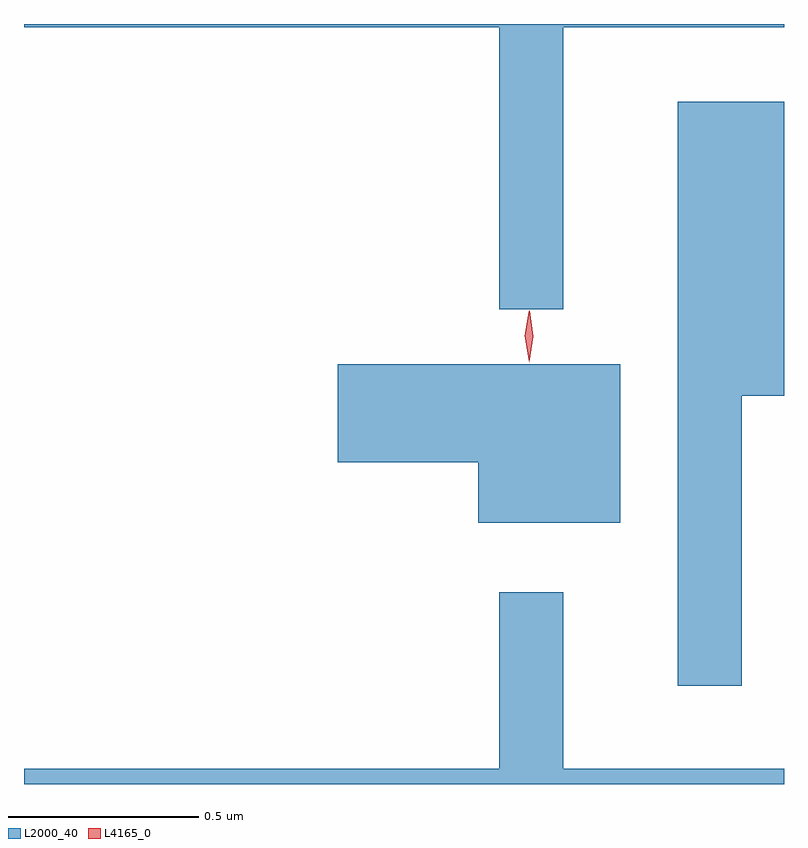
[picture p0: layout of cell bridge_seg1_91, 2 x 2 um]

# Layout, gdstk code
import gdstk
lib = gdstk.Library(unit=1e-6, precision=1e-09)
def P(c, l, *ps):  # polygons
    for p in ps: c.add(gdstk.Polygon(p, *l))
L2000_40 = (2000, 40)
L4165_0 = (4165, 0)

bridge_seg1_91 = lib.new_cell('bridge_seg1_91')
P(bridge_seg1_91, L2000_40, [(1263.729,857.396),(1264.31,857.396),(1264.31,857.404),(1262.31,857.404),(1262.31,857.396),(1263.561,857.396),(1263.561,856.653),(1263.729,856.653)],
  [(1264.199,856.426),(1264.31,856.426),(1264.31,857.199),(1264.031,857.199),(1264.031,855.663),(1264.199,855.663)],
  [(1263.879,856.509),(1263.136,856.509),(1263.136,856.251),(1263.506,856.251),(1263.506,856.091),(1263.879,856.091)],
  [(1264.31,855.444),(1263.729,855.444),(1263.729,855.908),(1263.561,855.908),(1263.561,855.444),(1262.31,855.444),(1262.31,855.404),(1264.31,855.404)])
P(bridge_seg1_91, L4165_0, [(1263.639,856.514),(1263.639,856.514),(1263.63,856.582),(1263.64,856.65),(1263.641,856.65),(1263.641,856.65),(1263.65,856.582),(1263.64,856.514)],
  [(1263.638,856.52),(1263.638,856.52),(1263.628,856.584),(1263.638,856.646),(1263.638,856.647),(1263.638,856.646),(1263.648,856.584),(1263.638,856.52)])

lib.write_gds('bridge_seg1_91.gds')
